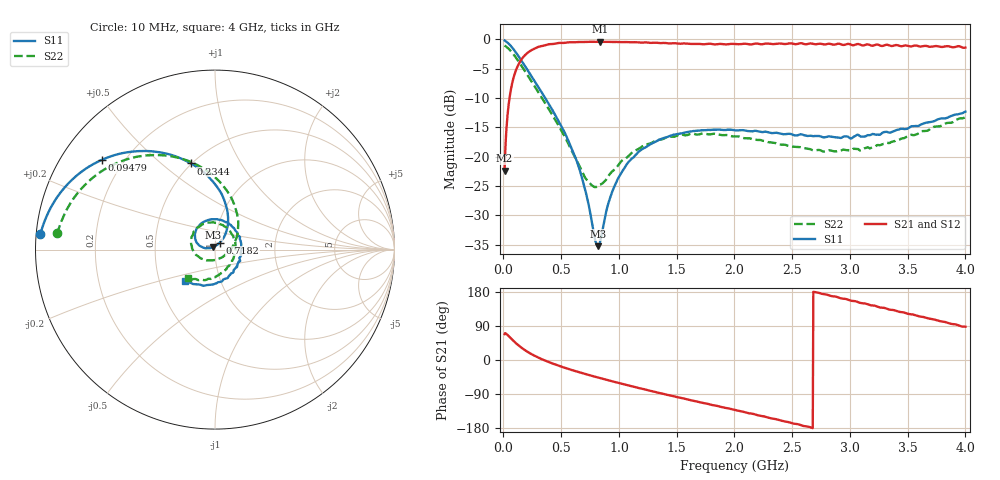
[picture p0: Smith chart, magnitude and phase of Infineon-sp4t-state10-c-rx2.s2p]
! 5/5/2016 5:12:27 PM
! C:\ANRITSUVNA\DATA\INFINEON-SP4T-STATE10-C-RX2.S2P
! CHANNEL.1
! TR.MEASUREMENT
! CORRECTED.DATA
# GHZ S RI R 50.0
! FREQ.GHZ  S11RE  S11IM  S21RE  S21IM  S12RE  S12IM  S22RE  S22IM
!; PortSelection: Port_12
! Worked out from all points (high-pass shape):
!   801 points, 10 MHz to 4 GHz, reference 50 ohm
!   highest |S21| = -0.43 dB at 832.9 MHz (marker M1); lowest = -22.4 dB at 10 MHz (marker M2)
!   |S21| within 3 dB of the highest: 156.2 MHz to end of sweep
!   lowest |S11| = -35.2 dB at 818 MHz (marker M3), VSWR 1.04, Z = 49.1 + j1.47 ohm
!   |S11| at or under -10 dB: 361.2 MHz to end of sweep
!   |S22| runs from -25.2 to -1.1 dB; largest |S21 - S12| = 0.014
!   S11 on the Smith chart (normalised r, x): 10 MHz: 0.01, +0.05; 94.79 MHz: 0.12, +0.34; 234.4 MHz: 0.50, +0.63; 718.2 MHz: 1.05, +0.08; 4 GHz: 0.67, -0.25
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0.01  -0.9729 0.0881  0.0281 0.0708  0.027 0.0706  -0.8809 0.09
0.0499  -0.8401 0.3434  0.1437 0.2667  0.1437 0.2666  -0.7507 0.3324
0.0947875  -0.629 0.5006  0.3327 0.3708  0.3324 0.371  -0.5427 0.484
0.1546375  -0.3675 0.5488  0.5637 0.3628  0.5633 0.3627  -0.2849 0.5251
0.2344375  -0.1338 0.4802  0.7642 0.2319  0.7642 0.2323  -0.057 0.4472
0.4040125  0.0559 0.2633  0.9026 -0.1113  0.9029 -0.1095  0.1193 0.2127
0.678325  0.0394 0.0538  0.7828 -0.5344  0.7832 -0.5347  0.0739 -0.014
0.718225  0.0271 0.0389  0.7511 -0.5807  0.7496 -0.5807  0.0561 -0.0305
0.78805  0.00191 0.0208  0.6873 -0.6564  0.6869 -0.6568  0.0234 -0.05
0.817975  -0.00862 0.015  0.6585 -0.6864  0.6571 -0.6859  0.00898 -0.0551
0.8329375  -0.0133 0.0124  0.6434 -0.7011  0.6426 -0.6997  0.00302 -0.0573
0.9127375  -0.0406 0.00785  0.5594 -0.7683  0.5587 -0.7675  -0.034 -0.0605
1.0075  -0.0682 0.0127  0.4533 -0.831  0.4535 -0.8284  -0.0715 -0.0518
1.341662  -0.112 0.0808  0.0578 -0.9283  0.0587 -0.9289  -0.1337 0.0384
1.670837  -0.0668 0.152  -0.3013 -0.8633  -0.2968 -0.8643  -0.0865 0.1281
2.005  0.0217 0.1664  -0.6107 -0.6767  -0.6053 -0.6868  0.0102 0.1484
2.359113  0.1048 0.1206  -0.8357 -0.3702  -0.8443 -0.3689  0.0884 0.0957
2.673325  0.1438 0.0425  -0.9182 -0.0108  -0.9184 -0.00956  0.1126 0.0169
3.06235  0.1406 -0.0615  -0.8163 0.4031  -0.8243 0.4069  0.0889 -0.0756
3.336663  0.0935 -0.1305  -0.6123 0.6454  -0.6083 0.6521  0.046 -0.1222
3.66085  -0.0123 -0.1943  -0.3146 0.8201  -0.3113 0.822  -0.0332 -0.1624
4  -0.1695 -0.1726  0.0329 0.8499  0.0419 0.8424  -0.1502 -0.1569
